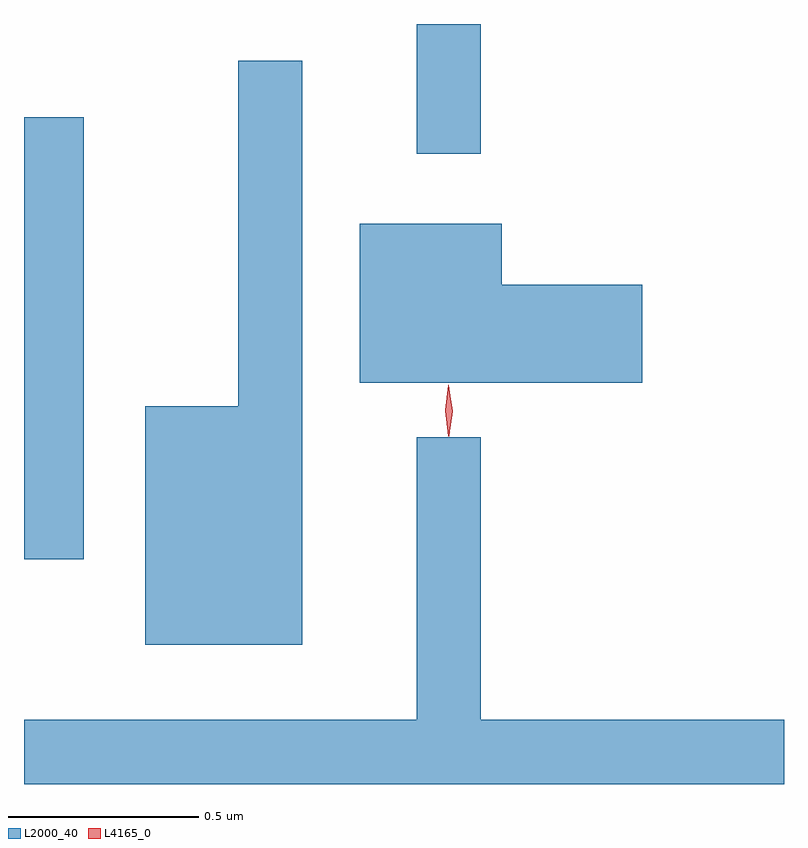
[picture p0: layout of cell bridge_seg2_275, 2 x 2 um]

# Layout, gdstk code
import gdstk
lib = gdstk.Library(unit=1e-6, precision=1e-09)
def R(c, l, rs):  # rectangles x0, y0, x1, y1
    for r in rs: c.add(gdstk.rectangle(r[:2], r[2:], *l))
def P(c, l, *ps):  # polygons
    for p in ps: c.add(gdstk.Polygon(p, *l))
L2000_40 = (2000, 40)
L4165_0 = (4165, 0)

bridge_seg2_275 = lib.new_cell('bridge_seg2_275')
R(bridge_seg2_275, L2000_40, [(485.077,1097.846,485.234,1099.009), (486.111,1098.913,486.279,1099.255)])
P(bridge_seg2_275, L2000_40, [(485.809,1099.158),(485.641,1099.158),(485.641,1098.249),(485.396,1098.249),(485.396,1097.621),(485.809,1097.621)],
  [(486.704,1098.569),(486.334,1098.569),(486.334,1098.729),(485.961,1098.729),(485.961,1098.311),(486.704,1098.311)],
  [(487.077,1097.424),(486.279,1097.424),(486.279,1098.168),(486.111,1098.168),(486.111,1097.424),(485.077,1097.424),(485.077,1097.255),(487.077,1097.255)])
P(bridge_seg2_275, L4165_0, [(486.194,1098.17),(486.185,1098.238),(486.194,1098.305),(486.194,1098.306),(486.195,1098.305),(486.204,1098.238),(486.196,1098.17),(486.195,1098.17)],
  [(486.195,1098.173),(486.194,1098.174),(486.185,1098.236),(486.194,1098.3),(486.194,1098.3),(486.195,1098.3),(486.205,1098.236),(486.196,1098.174)])

lib.write_gds('bridge_seg2_275.gds')
